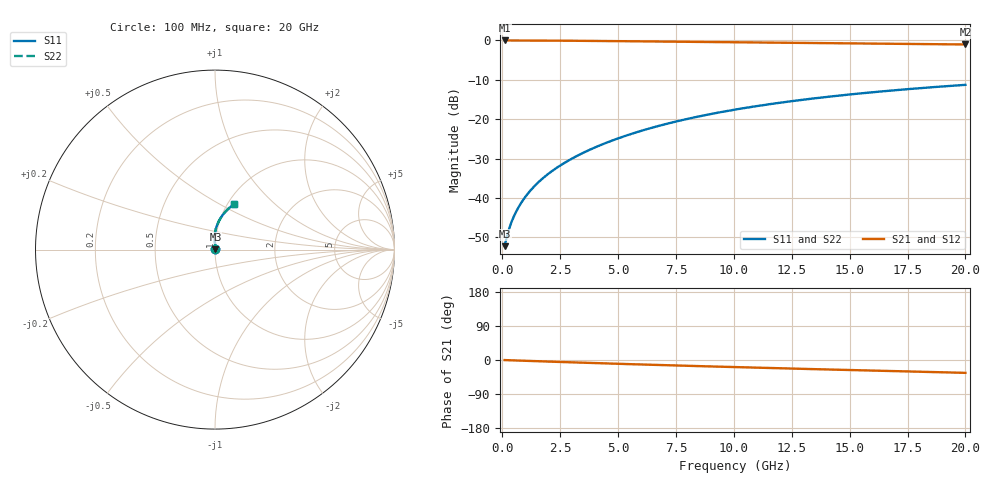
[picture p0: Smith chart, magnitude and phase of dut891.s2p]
! Touchstone file exported from HFSS 2024.1.0
!  File:  C:/UserFiles/LocalFiles/RDL_TSV_Batchsim/temp_RDL_bottom_891_1779865914.aedt
!  Generated:  03:14:19 PM May 27, 2026
!  Design:  RDL_bottom
!  Project:  temp_RDL_bottom_891_1779865914
!  Setup:  Setup1
!  Solution:  Sweep
! Variables:
!  dtsv = 10.80580581um
!  hbump = 3um
!  htsv = 88.42um
!  ldown = 488.23um
!  lrdl = 100um
!  p = 40
!  p1 = 53.16um
!  rhole = 1um
!  t = 450um
!  tdown = 3.15um
!  trdl = 3.915915916um
!  wdown = 29.99um
!  wrdl = 20um
# GHz S MA R 50.000000
! Terminal data exported
! Port[1] = RDL1_T1
! Port[2] = RDL1_T2
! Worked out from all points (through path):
!   200 points, 100 MHz to 20 GHz, reference 50 ohm
!   highest |S21| = -0.02 dB at 100 MHz (marker M1); lowest = -1.0 dB at 20 GHz (marker M2)
!   group delay of S21, straight-line fit = 4.64 ps
!   lowest |S11| = -52.2 dB at 100 MHz (marker M3), VSWR 1.00, Z = 50.2 + j0.12 ohm
!   |S11| at or under -10 dB: start of sweep to end of sweep
!   |S22| runs from -52.2 to -11.3 dB; largest |S21 - S12| = 4.1e-15
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0.1  0.002441 29.4  0.9979 -0.2  0.9979 -0.2  0.002441 29.4
! Gamma 0 0 0 0
! Port Impedance 50 0 50 0
0.2  0.003232 45.6  0.9977 -0.4  0.9977 -0.4  0.003232 45.6
0.3  0.004099 54.3  0.9975 -0.7  0.9975 -0.7  0.0041 54.3
0.4  0.004966 60.1  0.9973 -0.9  0.9973 -0.9  0.004966 60.1
0.5  0.005833 64.4  0.9971 -1.1  0.9971 -1.1  0.005834 64.4
0.6  0.00671 67.8  0.9969 -1.3  0.9969 -1.3  0.00671 67.8
0.8  0.008506 72.9  0.9966 -1.7  0.9966 -1.7  0.008506 72.9
1  0.01036 76.6  0.9962 -2.1  0.9962 -2.1  0.01036 76.6
1.2  0.01227 79.4  0.9958 -2.5  0.9958 -2.5  0.01227 79.4
1.7  0.01723 84.2  0.9945 -3.6  0.9945 -3.6  0.01723 84.2
2.2  0.02248 87.1  0.9928 -4.6  0.9928 -4.6  0.02248 87.1
2.8  0.02915 89.4  0.9903 -5.8  0.9903 -5.8  0.02915 89.4
3.5  0.03745 91.1  0.9869 -7.2  0.9869 -7.2  0.03745 91.1
4.2  0.04629 91.9  0.983 -8.5  0.983 -8.5  0.04629 91.9
5  0.05699 92.1  0.9782 -10.0  0.9782 -10.0  0.05699 92.1
6.8  0.08279 90.9  0.9667 -13.3  0.9667 -13.3  0.08279 90.9
8.4  0.1069 88.6  0.9562 -16.0  0.9562 -16.0  0.1069 88.6
10.1  0.1329 85.6  0.9454 -18.8  0.9454 -18.8  0.1329 85.6
11.7  0.1572 82.6  0.9355 -21.4  0.9355 -21.4  0.1572 82.6
13.4  0.1825 79.4  0.9253 -24.0  0.9253 -24.0  0.1826 79.4
16.7  0.2294 73.2  0.9061 -29.0  0.9061 -29.0  0.2294 73.2
20  0.2726 67.4  0.8872 -33.9  0.8872 -33.9  0.2726 67.4
